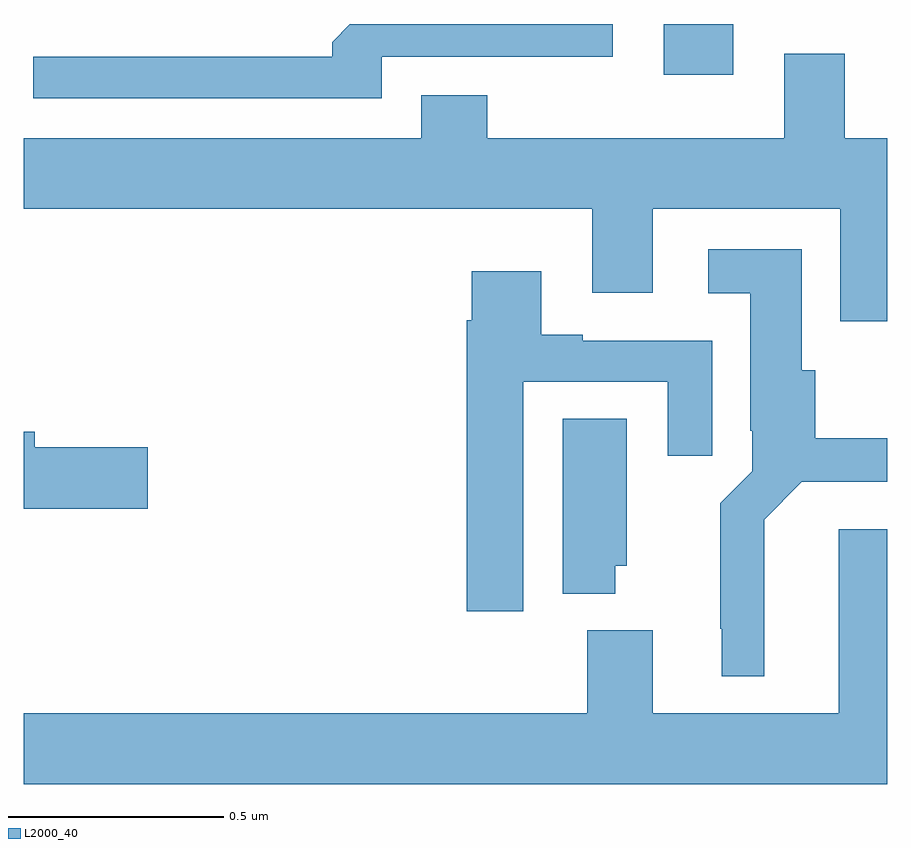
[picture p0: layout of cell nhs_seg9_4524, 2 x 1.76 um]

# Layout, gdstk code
import gdstk
lib = gdstk.Library(unit=1e-6, precision=1e-09)
def R(c, l, rs):  # rectangles x0, y0, x1, y1
    for r in rs: c.add(gdstk.rectangle(r[:2], r[2:], *l))
def P(c, l, *ps):  # polygons
    for p in ps: c.add(gdstk.Polygon(p, *l))
L2000_40 = (2000, 40)

nhs_seg9_4524 = lib.new_cell('nhs_seg9_4524')
R(nhs_seg9_4524, L2000_40, [(168.482,1211.382,168.643,1211.5)])
P(nhs_seg9_4524, L2000_40, [(167.829,1211.424),(168.364,1211.424),(168.364,1211.5),(167.755,1211.5),(167.714,1211.458),(167.714,1211.424),(167.022,1211.424),(167.022,1211.328),(167.829,1211.328)],
  [(169,1211.236),(168.901,1211.236),(168.901,1211.431),(168.761,1211.431),(168.761,1211.236),(168.074,1211.236),(168.074,1211.335),(167.921,1211.335),(167.921,1211.236),(167,1211.236),(167,1211.072),(168.317,1211.072),(168.317,1210.878),(168.457,1210.878),(168.457,1211.072),(168.891,1211.072),(168.891,1210.812),(169,1210.812)],
  [(168.715,1210.352),(168.802,1210.44),(169,1210.44),(169,1210.541),(168.833,1210.541),(168.833,1210.698),(168.802,1210.698),(168.802,1210.978),(168.585,1210.978),(168.585,1210.877),(168.683,1210.877),(168.683,1210.558),(168.687,1210.558),(168.687,1210.464),(168.613,1210.39),(168.613,1210.099),(168.617,1210.099),(168.617,1209.989),(168.715,1209.989)],
  [(168.157,1210.671),(168.491,1210.671),(168.491,1210.5),(168.595,1210.5),(168.595,1210.767),(168.295,1210.767),(168.295,1210.78),(168.199,1210.78),(168.199,1210.927),(168.038,1210.927),(168.038,1210.814),(168.026,1210.814),(168.026,1210.14),(168.157,1210.14)],
  [(168.37,1210.245),(168.397,1210.245),(168.397,1210.586),(168.248,1210.586),(168.248,1210.181),(168.37,1210.181)],
  [(167.287,1210.52),(167.026,1210.52),(167.026,1210.556),(167,1210.556),(167,1210.378),(167.287,1210.378)],
  [(169,1210.33),(168.887,1210.33),(168.887,1209.904),(168.457,1209.904),(168.457,1210.096),(168.305,1210.096),(168.305,1209.904),(167,1209.904),(167,1209.74),(169,1209.74)])

lib.write_gds('nhs_seg9_4524.gds')
